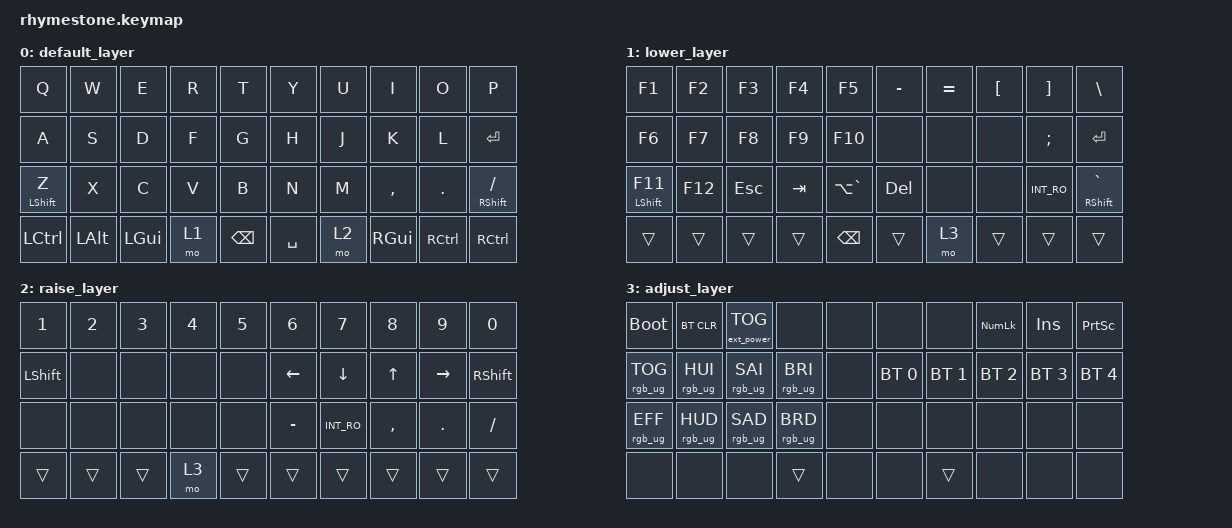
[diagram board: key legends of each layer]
/*
 * Copyright (c) 2020 The ZMK Contributors and Caiden Block
 *
 * SPDX-License-Identifier: MIT
 */

 #include <behaviors.dtsi>
 #include <dt-bindings/zmk/keys.h>
 #include <dt-bindings/zmk/bt.h>
 #include <dt-bindings/zmk/rgb.h>
 #include <dt-bindings/zmk/ext_power.h>
// #include <dt-bindings/zmk/outputs.h>
/ {
       keymap {
                compatible = "zmk,keymap";

                default_layer {
// -------------------------------------------------------------------------------------
// |   Q   |   W   |   E   |   R   |   T   |   |   Y   |   U   |   I   |   O   |   P   |
// |   A   |   S   |   D   |   F   |   G   |   |   H   |   J   |   K   |   L   | ENTER |
// | SFT Z |   X   |   C   |   V   |   B   |   |   N   |   M   |   ,   |   .   | SFT / |
// | LCTRL |  LALT |  LGUI | LOWER |  BKSP |   | SPACE | RAISE |  RGUI |  APP  | RCTRL |
                        bindings = <
   &kp Q        &kp W    &kp E    &kp R &kp T      &kp Y     &kp U  &kp I     &kp O   &kp P    
   &kp A        &kp S    &kp D    &kp F &kp G      &kp H     &kp J  &kp K     &kp L   &kp ENTER 
   &mt LSHIFT Z &kp X    &kp C    &kp V &kp B      &kp N     &kp M  &kp COMMA &kp DOT &mt RSHIFT SLASH 
   &kp LCTRL    &kp LALT &kp LGUI &mo 1 &kp BSPC   &kp SPACE &mo 2  &kp RGUI  &kp RCTRL &kp RCTRL
                        >;
                };
                lower_layer {
// -----------------------------------------------------------------------------------------
// | F1  | F2  | F3  | F4  | F5  |   | MIN | EQL |  [  |  ]  |  \  |
// | F6  | F7  | F8  | F9  | F10 |   |     |     |     |  ;  |QUOTE| 
// | F11 | F12 | ESC | TAB | LALT|   | DEL |     |     |  RO | GRAVE / SHIFT |
// |     |     |     |LOWER| BSP |   |     | AJST|     |     |     |   
                        bindings = <
   &kp F1         &kp F2    &kp F3    &kp F4  &kp F5        &kp MINUS &kp EQUAL &kp LBKT  &kp RBKT   &kp BSLH    
   &kp F6         &kp F7    &kp F8    &kp F9  &kp F10       &none     &none     &none     &kp SEMI   &kp ENTER 
   &mt LSHIFT F11 &kp F12   &kp ESC   &kp TAB &kp LA(GRAVE) &kp DEL   &none     &none     &kp INT_RO &mt RSHIFT GRAVE 
   &trans         &trans    &trans    &trans  &kp BSPC      &trans    &mo 3     &trans    &trans     &trans 
    >;
                };
                       
                raise_layer {
// -----------------------------------------------------------------------------------------
// |  1  |  2  |  3  |  4  |  5  |   |  6  |  7  |  8  |  9  |  0  |
// |SHIFT|     |     |     |     |   | LFT | DWN |  UP | RGT |SHIFT|
// |BTCLR| BT0 | BT1 | BT2 | BT3 |   |MINUS|  RO |COMMA| DOT |SLASH|
// |     |     |     | AJST|     |   |     |     |     |     |     |
                        bindings = <
&kp N1     &kp N2       &kp N3       &kp N4       &kp N5            &kp N6    &kp N7     &kp N8     &kp N9    &kp N0 
&kp LSHIFT &none        &none        &none        &none             &kp LEFT  &kp DOWN   &kp UP     &kp RIGHT &kp RSHIFT 
&none      &none        &none        &none        &none             &kp MINUS &kp INT_RO &kp COMMA  &kp DOT   &kp FSLH          
&trans     &trans       &trans       &mo 3        &trans            &trans    &trans     &trans     &trans    &trans 
                        >;
                };
                adjust_layer {
// -----------------------------------------------------------------------------------------
// |RESET| BT CLR | EP TOG  |         |     |   |       |       | NUMLOCK | INSERT | PRTSCRN |   
// |RGBTO|  HUE+  |   SAT+  |   VAL+  |     |   | BT 0  | BT 1  |  BT 2   |  BT 3  | BT 4
// |RGBMO|  HUE-  |   SAT-  |   VAL-  |     |   |       |       |         |        |         |
// |     |        |         |         |     |   |       |       |         |        |         |    
                        bindings = <
 &bootloader     &bt BT_CLR   &ext_power EP_TOG  &none            &none       &none        &none        &kp KP_NUM   &kp INSERT   &kp PRINTSCREEN
 &rgb_ug RGB_TOG &rgb_ug RGB_HUI &rgb_ug RGB_SAI &rgb_ug RGB_BRI  &none       &bt BT_SEL 0 &bt BT_SEL 1 &bt BT_SEL 2 &bt BT_SEL 3 &bt BT_SEL 4
 &rgb_ug RGB_EFF &rgb_ug RGB_HUD &rgb_ug RGB_SAD &rgb_ug RGB_BRD  &none       &none        &none        &none        &none        &none        
 &none           &none           &none           &trans           &none       &none        &trans       &none        &none        &none  
                        >;
                };
        };
};
